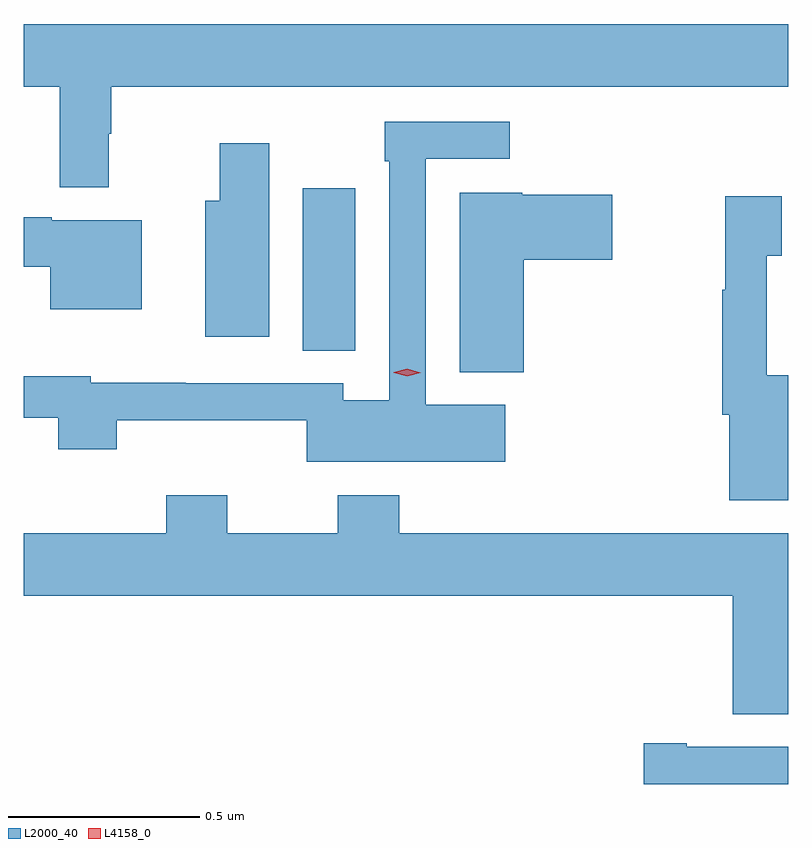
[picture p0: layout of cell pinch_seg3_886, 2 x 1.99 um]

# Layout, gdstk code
import gdstk
lib = gdstk.Library(unit=1e-6, precision=1e-09)
def R(c, l, rs):  # rectangles x0, y0, x1, y1
    for r in rs: c.add(gdstk.rectangle(r[:2], r[2:], *l))
def P(c, l, *ps):  # polygons
    for p in ps: c.add(gdstk.Polygon(p, *l))
L2000_40 = (2000, 40)
L4158_0 = (4158, 0)

pinch_seg3_886 = lib.new_cell('pinch_seg3_886')
R(pinch_seg3_886, L2000_40, [(700.592,684.241,700.729,684.667)])
P(pinch_seg3_886, L2000_40, [(700.084,684.809),(700.091,684.809),(700.091,684.932),(701.862,684.932),(701.862,685.096),(699.862,685.096),(699.862,684.932),(699.956,684.932),(699.956,684.669),(700.084,684.669)],
  [(701.122,684.1),(700.914,684.1),(700.914,684.744),(701.134,684.744),(701.134,684.84),(700.806,684.84),(700.806,684.737),(700.818,684.737),(700.818,684.112),(700.698,684.112),(700.698,684.156),(700.286,684.156),(700.286,684.158),(700.038,684.158),(700.038,684.175),(699.862,684.175),(699.862,684.066),(699.953,684.066),(699.953,683.984),(700.106,683.984),(700.106,684.059),(700.602,684.059),(700.602,683.951),(701.122,683.951)],
  [(700.504,684.784),(700.375,684.784),(700.375,684.634),(700.337,684.634),(700.337,684.278),(700.504,684.278)],
  [(701.17,684.479),(701.401,684.479),(701.401,684.649),(701.166,684.649),(701.166,684.655),(701.003,684.655),(701.003,684.185),(701.17,684.185)],
  [(701.862,684.177),(701.805,684.177),(701.805,684.49),(701.845,684.49),(701.845,684.646),(701.697,684.646),(701.697,684.401),(701.689,684.401),(701.689,684.074),(701.708,684.074),(701.708,683.85),(701.862,683.85)],
  [(700.171,684.583),(699.936,684.583),(699.936,684.59),(699.862,684.59),(699.862,684.461),(699.932,684.461),(699.932,684.35),(700.171,684.35)],
  [(701.862,683.764),(700.844,683.764),(700.844,683.863),(700.684,683.863),(700.684,683.764),(700.395,683.764),(700.395,683.863),(700.235,683.863),(700.235,683.764),(699.862,683.764),(699.862,683.6),(701.717,683.6),(701.717,683.291),(701.862,683.291)],
  [(701.862,683.206),(701.596,683.206),(701.596,683.214),(701.484,683.214),(701.484,683.108),(701.862,683.108)])
P(pinch_seg3_886, L4158_0, [(700.865,684.174),(700.83,684.184),(700.83,684.185),(700.83,684.185),(700.865,684.194),(700.9,684.184),(700.9,684.184),(700.9,684.184)])

lib.write_gds('pinch_seg3_886.gds')
